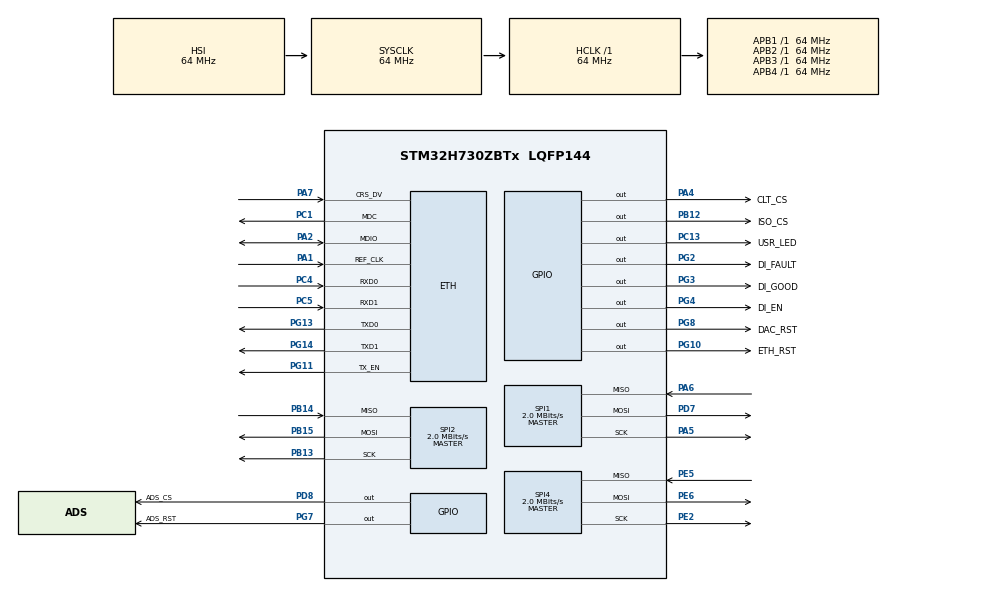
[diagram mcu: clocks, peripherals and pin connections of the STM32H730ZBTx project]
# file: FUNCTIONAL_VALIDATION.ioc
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CORTEX_M7.default_mode_Activation=1
ETH.MediaInterface=HAL_ETH_RMII_MODE
Mcu.Family=STM32H7
Mcu.Name=STM32H730ZBTx
Mcu.Package=LQFP144
NVIC.PriorityGroup=NVIC_PRIORITYGROUP_4
PA1.Mode=RMII
PA1.Signal=ETH_REF_CLK
PA13(JTMS/SWDIO).Mode=Serial_Wire
PA13(JTMS/SWDIO).Signal=DEBUG_JTMS-SWDIO
PA14(JTCK/SWCLK).Mode=Serial_Wire
PA14(JTCK/SWCLK).Signal=DEBUG_JTCK-SWCLK
PA2.Mode=RMII
PA2.Signal=ETH_MDIO
PA4.GPIO_Label=CLT_CS
PA4.Signal=GPIO_Output
PA5.Mode=Full_Duplex_Master
PA5.Signal=SPI1_SCK
PA6.Mode=Full_Duplex_Master
PA6.Signal=SPI1_MISO
PA7.Mode=RMII
PA7.Signal=ETH_CRS_DV
PB12.GPIO_Label=ISO_CS
PB12.Signal=GPIO_Output
PB13.Mode=Full_Duplex_Master
PB13.Signal=SPI2_SCK
PB14.Mode=Full_Duplex_Master
PB14.Signal=SPI2_MISO
PB15.Mode=Full_Duplex_Master
PB15.Signal=SPI2_MOSI
PC1.Mode=RMII
PC1.Signal=ETH_MDC
PC13.GPIO_Label=USR_LED
PC13.Signal=GPIO_Output
PC4.Mode=RMII
PC4.Signal=ETH_RXD0
PC5.Mode=RMII
PC5.Signal=ETH_RXD1
PD7.Mode=Full_Duplex_Master
PD7.Signal=SPI1_MOSI
PD8.GPIO_Label=ADS_CS
PD8.Signal=GPIO_Output
PE2.Mode=Full_Duplex_Master
PE2.Signal=SPI4_SCK
PE4.GPIO_Label=DAC_CS
PE4.Signal=SPI4_NSS
PE5.Mode=Full_Duplex_Master
PE5.Signal=SPI4_MISO
PE6.Mode=Full_Duplex_Master
PE6.Signal=SPI4_MOSI
PG10.GPIO_Label=ETH_RST
PG10.PinState=GPIO_PIN_RESET
PG10.Signal=GPIO_Output
PG11.Mode=RMII
PG11.Signal=ETH_TX_EN
PG13.Mode=RMII
PG13.Signal=ETH_TXD0
PG14.Mode=RMII
PG14.Signal=ETH_TXD1
PG2.GPIO_Label=DI_FAULT
PG2.Signal=GPIO_Output
PG3.GPIO_Label=DI_GOOD
PG3.Signal=GPIO_Output
PG4.GPIO_Label=DI_EN
PG4.GPIO_Speed=GPIO_SPEED_FREQ_HIGH
PG4.PinState=GPIO_PIN_SET
PG4.Signal=GPIO_Output
PG7.GPIO_Label=ADS_RST
PG7.Signal=GPIO_Output
PG8.GPIO_Label=DAC_RST
PG8.Signal=GPIO_Output
ProjectManager.HeapSize=0x200
ProjectManager.StackSize=0x400
ProjectManager.TargetToolchain=STM32CubeIDE
RCC.ADCFreq_Value=129000000
RCC.APB1Freq_Value=64000000
RCC.APB2Freq_Value=64000000
RCC.APB3Freq_Value=64000000
RCC.APB4Freq_Value=64000000
RCC.CortexFreq_Value=64000000
RCC.DIVM1=4
RCC.DIVN1=12
RCC.DIVQ1=3
RCC.HCLKFreq_Value=64000000
RCC.PLLFRACN=0
RCC.SYSCLKFreq_VALUE=64000000
RCC.USBFreq_Value=64000000
SPI1.BaudRatePrescaler=SPI_BAUDRATEPRESCALER_32
SPI1.CLKPhase=SPI_PHASE_1EDGE
SPI1.CalculateBaudRate=2.0 MBits/s
SPI1.DataSize=SPI_DATASIZE_16BIT
SPI1.Direction=SPI_DIRECTION_2LINES
SPI1.Mode=SPI_MODE_MASTER
SPI1.VirtualType=VM_MASTER
SPI2.BaudRatePrescaler=SPI_BAUDRATEPRESCALER_32
SPI2.CalculateBaudRate=2.0 MBits/s
SPI2.DataSize=SPI_DATASIZE_16BIT
SPI2.Direction=SPI_DIRECTION_2LINES
SPI2.Mode=SPI_MODE_MASTER
SPI2.VirtualType=VM_MASTER
SPI4.BaudRatePrescaler=SPI_BAUDRATEPRESCALER_32
SPI4.CalculateBaudRate=2.0 MBits/s
SPI4.DataSize=SPI_DATASIZE_8BIT
SPI4.Direction=SPI_DIRECTION_2LINES
SPI4.Mode=SPI_MODE_MASTER
SPI4.VirtualType=VM_MASTER
VP_MEMORYMAP_VS_MEMORYMAP.Mode=CurAppReg
board=custom

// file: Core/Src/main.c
/* USER CODE BEGIN Header */
/**
  ******************************************************************************
  * @file           : main.c
  * @brief          : Main program body
  ******************************************************************************
  * @attention
  *
  * Copyright (c) 2026 STMicroelectronics.
  * All rights reserved.
  *
  * This software is licensed under terms that can be found in the LICENSE file
  * in the root directory of this software component.
  * If no LICENSE file comes with this software, it is provided AS-IS.
  *
  ******************************************************************************
  */
/* USER CODE END Header */
#include "main.h"
#include "eth.h"
#include "spi.h"
#include "gpio.h"

/* USER CODE BEGIN Includes */
#include "output_driver.h"
#include "iso8200aq.h"
#include "clt01_38sq7.h"
#include "current_limiter.h"
#include "analog_input.h"
#include <stdbool.h>
#include "dac81408.h"
#include "DAC81408_Interface.h"
#include "analog_output.h"
/* USER CODE END Includes */

void SystemClock_Config(void);
static void MPU_Config(void);

int main(void)
{

  /* MPU Configuration--------------------------------------------------------*/
  MPU_Config();

  /* MCU Configuration--------------------------------------------------------*/

  /* Reset of all peripherals, Initializes the Flash interface and the Systick. */
  HAL_Init();

  /* USER CODE BEGIN Init */
  CurrentLimiter_Init();
    OutputDriver_Init();

  /* USER CODE END Init */

  /* Configure the system clock */
  SystemClock_Config();

  /* Initialize all configured peripherals */
  MX_GPIO_Init();
  MX_SPI1_Init();
  MX_SPI2_Init();
  MX_SPI4_Init();
 // MX_ETH_Init();
  /* USER CODE BEGIN 2 */
  BSP_ANALOG_OUTPUT_RegisterDriver(&DAC81408Drv);

      if (BSP_ANALOG_OUTPUT_Init(NULL) != ANALOG_OUTPUT_OK)
      {
          Error_Handler();
      }

      uint16_t dacValues[8] = {32768, 32768, 32768, 32768, 32768, 32768, 32768, 32768};
  CLT01_Status_t cltStatus;
    OutputDriver_Status_t isoStatus;
    uint8_t isoTestPattern = 0x0F;
  /* USER CODE END 2 */

  /* Infinite loop */
  while (1)
  {
	  BSP_ANALOG_OUTPUT_Write(dacValues);
    /* USER CODE BEGIN 3 */

	  bool clt_bus_ok = false;
	        bool iso_bus_ok = false;

	        if (CurrentLimiter_Read(&cltStatus) == HAL_OK)
	        {
	            clt_bus_ok = true;
	        }

	        if (OutputDriver_Write(isoTestPattern))
	        {
	            OutputDriver_ReadStatus(&isoStatus);
	            iso_bus_ok = true;
	        }

	        if (clt_bus_ok && iso_bus_ok)
	        {
	            HAL_GPIO_TogglePin(USR_LED_GPIO_Port, USR_LED_Pin);
	            HAL_Delay(1000);
	        }
	        else if (!clt_bus_ok && iso_bus_ok)
	        {
	            HAL_GPIO_TogglePin(USR_LED_GPIO_Port, USR_LED_Pin);
	            HAL_Delay(100);
	        }
	        else if (clt_bus_ok && !iso_bus_ok)
	        {
	            HAL_GPIO_TogglePin(USR_LED_GPIO_Port, USR_LED_Pin);
	            HAL_Delay(50);
	        }
	        else
	        {
	            HAL_GPIO_WritePin(USR_LED_GPIO_Port, USR_LED_Pin, GPIO_PIN_SET);
	            HAL_Delay(10);
	        }

	        isoTestPattern = (uint8_t)((isoTestPattern << 1) | (isoTestPattern >> 7));

  }
  /* USER CODE END 3 */
}

void SystemClock_Config(void)
{
  RCC_OscInitTypeDef RCC_OscInitStruct = {0};
  RCC_ClkInitTypeDef RCC_ClkInitStruct = {0};

  /** Supply configuration update enable
  */
  HAL_PWREx_ConfigSupply(PWR_LDO_SUPPLY);

  /** Configure the main internal regulator output voltage
  */
  __HAL_PWR_VOLTAGESCALING_CONFIG(PWR_REGULATOR_VOLTAGE_SCALE3);

  while(!__HAL_PWR_GET_FLAG(PWR_FLAG_VOSRDY)) {}

  /** Initializes the RCC Oscillators according to the specified parameters
  * in the RCC_OscInitTypeDef structure.
  */
  RCC_OscInitStruct.OscillatorType = RCC_OSCILLATORTYPE_HSI;
  RCC_OscInitStruct.HSIState = RCC_HSI_DIV1;
  RCC_OscInitStruct.HSICalibrationValue = 64;
  RCC_OscInitStruct.PLL.PLLState = RCC_PLL_ON;
  RCC_OscInitStruct.PLL.PLLSource = RCC_PLLSOURCE_HSI;
  RCC_OscInitStruct.PLL.PLLM = 4;
  RCC_OscInitStruct.PLL.PLLN = 12;
  RCC_OscInitStruct.PLL.PLLP = 2;
  RCC_OscInitStruct.PLL.PLLQ = 3;
  RCC_OscInitStruct.PLL.PLLR = 2;
  RCC_OscInitStruct.PLL.PLLRGE = RCC_PLL1VCIRANGE_3;
  RCC_OscInitStruct.PLL.PLLVCOSEL = RCC_PLL1VCOWIDE;
  RCC_OscInitStruct.PLL.PLLFRACN = 0;
  if (HAL_RCC_OscConfig(&RCC_OscInitStruct) != HAL_OK)
  {
    Error_Handler();
  }

  /** Initializes the CPU, AHB and APB buses clocks
  */
  RCC_ClkInitStruct.ClockType = RCC_CLOCKTYPE_HCLK|RCC_CLOCKTYPE_SYSCLK
                              |RCC_CLOCKTYPE_PCLK1|RCC_CLOCKTYPE_PCLK2
                              |RCC_CLOCKTYPE_D3PCLK1|RCC_CLOCKTYPE_D1PCLK1;
  RCC_ClkInitStruct.SYSCLKSource = RCC_SYSCLKSOURCE_HSI;
  RCC_ClkInitStruct.SYSCLKDivider = RCC_SYSCLK_DIV1;
  RCC_ClkInitStruct.AHBCLKDivider = RCC_HCLK_DIV1;
  RCC_ClkInitStruct.APB3CLKDivider = RCC_APB3_DIV1;
  RCC_ClkInitStruct.APB1CLKDivider = RCC_APB1_DIV1;
  RCC_ClkInitStruct.APB2CLKDivider = RCC_APB2_DIV1;
  RCC_ClkInitStruct.APB4CLKDivider = RCC_APB4_DIV1;

  if (HAL_RCC_ClockConfig(&RCC_ClkInitStruct, FLASH_LATENCY_1) != HAL_OK)
  {
    Error_Handler();
  }
}

 /* MPU Configuration */

void MPU_Config(void)
{
  MPU_Region_InitTypeDef MPU_InitStruct = {0};

  /* Disables the MPU */
  HAL_MPU_Disable();

  /** Initializes and configures the Region and the memory to be protected
  */
  MPU_InitStruct.Enable = MPU_REGION_ENABLE;
  MPU_InitStruct.Number = MPU_REGION_NUMBER0;
  MPU_InitStruct.BaseAddress = 0x0;
  MPU_InitStruct.Size = MPU_REGION_SIZE_4GB;
  MPU_InitStruct.SubRegionDisable = 0x87;
  MPU_InitStruct.TypeExtField = MPU_TEX_LEVEL0;
  MPU_InitStruct.AccessPermission = MPU_REGION_NO_ACCESS;
  MPU_InitStruct.DisableExec = MPU_INSTRUCTION_ACCESS_DISABLE;
  MPU_InitStruct.IsShareable = MPU_ACCESS_SHAREABLE;
  MPU_InitStruct.IsCacheable = MPU_ACCESS_NOT_CACHEABLE;
  MPU_InitStruct.IsBufferable = MPU_ACCESS_NOT_BUFFERABLE;

  HAL_MPU_ConfigRegion(&MPU_InitStruct);
  /* Enables the MPU */
  HAL_MPU_Enable(MPU_PRIVILEGED_DEFAULT);

}

void Error_Handler(void)
{
  __disable_irq();
  while (1)
  {
  }
}
